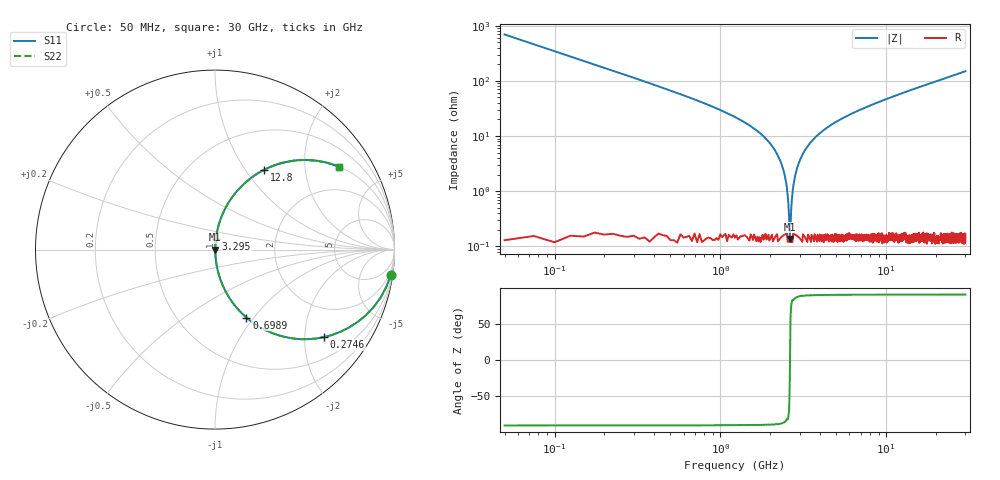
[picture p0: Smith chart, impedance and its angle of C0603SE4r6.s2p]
!	AVX Thin Film Operation 	Date: April 2014
!	Description: Accu-P® Series, Thin Film  SMD RF Capacitor
!	Part Number: 06035J4R6ABSTR
# MHZ S MA R 50
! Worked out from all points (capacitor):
!   1201 points, 50 MHz to 30 GHz, reference 50 ohm
!   read as one part in series: C = 4.6 pF near 199.8 MHz
!   lowest |Z| = 137 mohm at 2.621 GHz (marker M1)
!   series resonance near 2.627 GHz, so ESL is about 800 pH
!   S11 on the Smith chart (normalised r, x): 50 MHz: 1, -14; 274.6 MHz: 1.00, -2.49; 698.9 MHz: 1.00, -0.92; 3.295 GHz: 1.00, +0.12; 12.8 GHz: 1.00, +1.23; 30 GHz: 1.01, +2.98
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50  0.99 -8.2  0.143 81.8  0.143 81.8  0.99 -8.2
274.625  0.779 -38.7  0.626 51.2  0.626 51.2  0.779 -38.7
474.292  0.576 -54.7  0.816 35.2  0.816 35.2  0.576 -54.7
698.917  0.417 -65.1  0.907 24.7  0.907 24.7  0.417 -65.1
1173.125  0.229 -76.4  0.972 13.3  0.972 13.3  0.229 -76.4
2071.625  0.063 -85.1  0.997 3.6  0.997 3.6  0.063 -85.1
2346.167  0.03 -85.5  0.998 1.7  0.998 1.7  0.03 -85.5
2520.875  0.011 -81.8  0.998 0.6  0.998 0.6  0.011 -81.8
2620.708  0.001575 -23.1  0.999 0.0  0.999 0.0  0.001575 -23.1
2720.542  0.00933 80.5  0.999 -0.5  0.999 -0.5  0.00933 80.5
2845.333  0.021 84.9  0.998 -1.2  0.998 -1.2  0.021 84.9
2945.167  0.03 85.5  0.998 -1.7  0.998 -1.7  0.03 85.5
3294.583  0.06 85.2  0.997 -3.4  0.997 -3.4  0.06 85.2
3993.417  0.113 82.8  0.992 -6.5  0.992 -6.5  0.113 82.8
5041.667  0.181 79.1  0.982 -10.4  0.982 -10.4  0.181 79.1
7138.167  0.295 72.6  0.954 -17.2  0.954 -17.2  0.295 72.6
10058.29  0.425 64.7  0.904 -25.1  0.904 -25.1  0.425 64.7
12803.71  0.523 58.3  0.851 -31.6  0.851 -31.6  0.523 58.3
15025  0.589 53.8  0.807 -36.1  0.807 -36.1  0.589 53.8
20016.67  0.702 45.4  0.711 -44.6  0.711 -44.6  0.702 45.4
25033.29  0.778 38.8  0.627 -51.1  0.627 -51.1  0.778 38.8
30000  0.83 33.8  0.556 -56.1  0.556 -56.1  0.83 33.8
